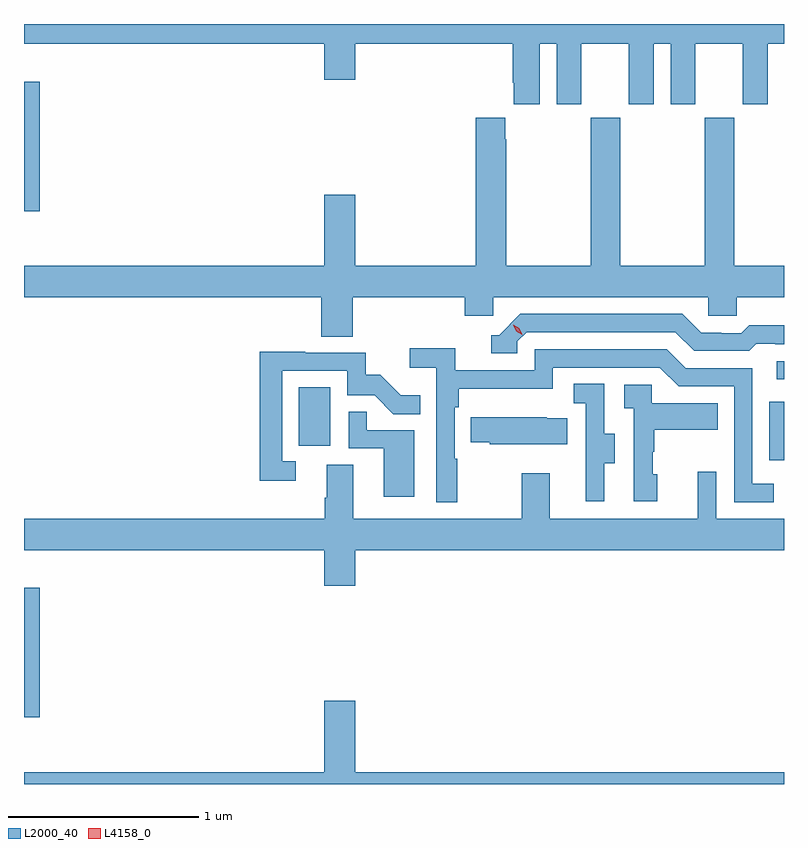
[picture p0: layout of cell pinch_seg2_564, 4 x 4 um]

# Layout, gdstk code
import gdstk
lib = gdstk.Library(unit=1e-6, precision=1e-09)
def R(c, l, rs):  # rectangles x0, y0, x1, y1
    for r in rs: c.add(gdstk.rectangle(r[:2], r[2:], *l))
def P(c, l, *ps):  # polygons
    for p in ps: c.add(gdstk.Polygon(p, *l))
L2000_40 = (2000, 40)
L4158_0 = (4158, 0)

pinch_seg2_564 = lib.new_cell('pinch_seg2_564')
R(pinch_seg2_564, L2000_40, [(1140.451,616.12,1140.533,616.801), (1144.374,617.472,1144.451,617.782), (1141.898,617.55,1142.062,617.857), (1144.413,617.898,1144.451,617.994), (1140.451,618.784,1140.533,619.465)])
P(pinch_seg2_564, L2000_40, [(1140.451,619.664),(1142.03,619.664),(1142.03,619.476),(1142.194,619.476),(1142.194,619.664),(1143.023,619.664),(1143.023,619.459),(1143.029,619.459),(1143.029,619.347),(1143.166,619.347),(1143.166,619.664),(1143.254,619.664),(1143.254,619.347),(1143.385,619.347),(1143.385,619.664),(1143.635,619.664),(1143.635,619.347),(1143.766,619.347),(1143.766,619.664),(1143.854,619.664),(1143.854,619.347),(1143.985,619.347),(1143.985,619.664),(1144.235,619.664),(1144.235,619.347),(1144.366,619.347),(1144.366,619.664),(1144.451,619.664),(1144.451,619.769),(1140.451,619.769)],
  [(1142.18,618.332),(1142.771,618.332),(1142.771,618.234),(1142.922,618.234),(1142.922,618.332),(1144.053,618.332),(1144.053,618.234),(1144.203,618.234),(1144.203,618.332),(1144.451,618.332),(1144.451,618.496),(1144.188,618.496),(1144.188,619.276),(1144.033,619.276),(1144.033,618.496),(1143.588,618.496),(1143.588,619.276),(1143.433,619.276),(1143.433,618.496),(1142.988,618.496),(1142.988,619.163),(1142.983,619.163),(1142.983,619.276),(1142.828,619.276),(1142.828,618.496),(1142.194,618.496),(1142.194,618.871),(1142.03,618.871),(1142.03,618.496),(1140.451,618.496),(1140.451,618.332),(1142.015,618.332),(1142.015,618.124),(1142.18,618.124)],
  [(1143.048,618.099),(1143.096,618.147),(1143.879,618.147),(1143.978,618.048),(1144.267,618.048),(1144.306,618.087),(1144.405,618.087),(1144.405,618.084),(1144.451,618.084),(1144.451,618.184),(1144.267,618.184),(1144.225,618.141),(1144.122,618.141),(1144.122,618.144),(1144.015,618.144),(1143.916,618.243),(1143.063,618.243),(1142.952,618.132),(1142.909,618.132),(1142.909,618.036),(1143.048,618.036)],
  [(1142.731,617.48),(1142.718,617.48),(1142.718,617.753),(1142.738,617.753),(1142.738,617.849),(1143.234,617.849),(1143.234,617.961),(1143.798,617.961),(1143.897,617.862),(1144.188,617.862),(1144.188,617.253),(1144.397,617.253),(1144.397,617.349),(1144.284,617.349),(1144.284,617.958),(1143.934,617.958),(1143.835,618.057),(1143.138,618.057),(1143.138,617.946),(1142.72,617.946),(1142.72,618.062),(1142.481,618.062),(1142.481,617.96),(1142.622,617.96),(1142.622,617.253),(1142.731,617.253)],
  [(1141.882,617.469),(1141.809,617.469),(1141.809,617.943),(1142.151,617.943),(1142.151,617.814),(1142.296,617.814),(1142.394,617.716),(1142.537,617.716),(1142.537,617.815),(1142.433,617.815),(1142.326,617.922),(1142.25,617.922),(1142.25,618.039),(1141.931,618.039),(1141.931,618.044),(1141.693,618.044),(1141.693,617.364),(1141.882,617.364)],
  [(1143.505,617.458),(1143.559,617.458),(1143.559,617.613),(1143.504,617.613),(1143.504,617.876),(1143.345,617.876),(1143.345,617.773),(1143.408,617.773),(1143.408,617.469),(1143.407,617.469),(1143.407,617.256),(1143.505,617.256)],
  [(1143.784,617.4),(1143.759,617.4),(1143.759,617.519),(1143.769,617.519),(1143.769,617.633),(1144.103,617.633),(1144.103,617.773),(1143.756,617.773),(1143.756,617.871),(1143.609,617.871),(1143.609,617.747),(1143.66,617.747),(1143.66,617.256),(1143.784,617.256)],
  [(1142.506,617.631),(1142.255,617.631),(1142.255,617.729),(1142.16,617.729),(1142.16,617.535),(1142.345,617.535),(1142.345,617.28),(1142.506,617.28)],
  [(1143.311,617.695),(1143.203,617.695),(1143.203,617.698),(1142.803,617.698),(1142.803,617.569),(1142.901,617.569),(1142.901,617.558),(1143.311,617.558)],
  [(1142.194,617),(1144.451,617),(1144.451,617.164),(1144.095,617.164),(1144.095,617.413),(1143.998,617.413),(1143.998,617.164),(1143.217,617.164),(1143.217,617.404),(1143.07,617.404),(1143.07,617.164),(1142.185,617.164),(1142.185,617.45),(1142.045,617.45),(1142.045,617.276),(1142.033,617.276),(1142.033,617.164),(1140.451,617.164),(1140.451,617),(1142.03,617),(1142.03,616.812),(1142.194,616.812)],
  [(1144.451,615.832),(1142.194,615.832),(1142.194,616.207),(1142.03,616.207),(1142.03,615.832),(1140.451,615.832),(1140.451,615.769),(1144.451,615.769)])
P(pinch_seg2_564, L4158_0, [(1143.073,618.134),(1143.042,618.153),(1143.026,618.186),(1143.026,618.186),(1143.026,618.186),(1143.057,618.167),(1143.073,618.135),(1143.073,618.134)])

lib.write_gds('pinch_seg2_564.gds')
